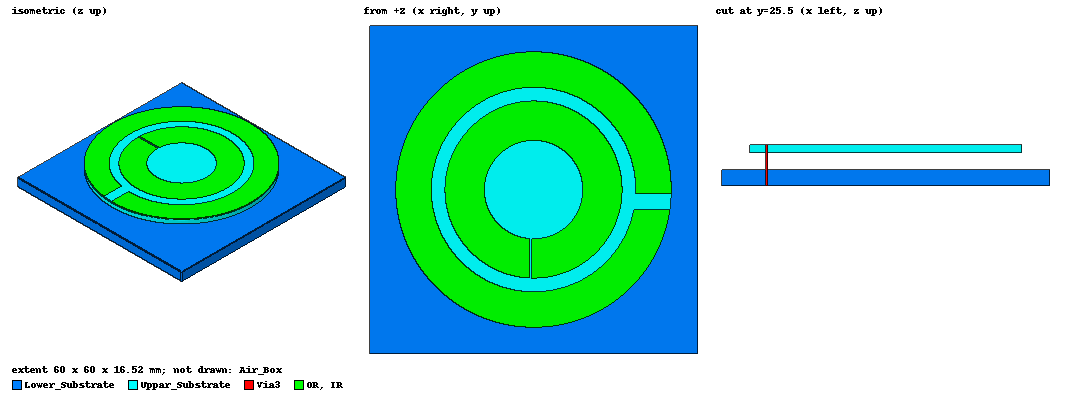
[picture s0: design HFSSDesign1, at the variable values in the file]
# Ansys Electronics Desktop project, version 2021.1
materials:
  vacuum: permittivity=1
  Taconic TLY (tm): permittivity=2.2 dielectric_loss_tangent=0.0009
  pec: conductivity=1e+30
  Teflon (tm): permittivity=2.1 dielectric_loss_tangent=0.001
  FR4_epoxy: permittivity=4.4 dielectric_loss_tangent=0.02
  Material1felt: permittivity=1.6
  Rogers RT/duroid 5880 (tm): permittivity=2.2 dielectric_loss_tangent=0.0009
  corning_glass: permittivity=5.75
  Rogers RO3003 (tm): permittivity=3 dielectric_loss_tangent=0.0013
  polyester: permittivity=3.2 dielectric_loss_tangent=0.003

design HFSSDesign1 (HFSS, DrivenModal, model units mm)
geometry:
  Ground = rectangle(corner=(0mm, 0mm, -3mm), x_size=60mm, y_size=60mm)
  Lower_Substrate [Material1felt] = box(corner=(0mm, 0mm, 0mm), size=(60mm, 60mm, -3mm))
  coordinate_system RelativeCS1 = origin=(30mm, 30mm, 0mm) x=(1mm, 0mm, 0mm) y=(0mm, 1mm, 0mm)
  Uppar_Substrate [Taconic TLY (tm)] = cylinder(axis=Z, base_centre=(0mm, 0mm, 3mm), radius=25.2mm, height=1.52mm) in RelativeCS1
  r2 = circle(normal=Z, centre=(0mm, 0mm, 4.52mm), radius=18.7mm) in RelativeCS1
  OR = circle(normal=Z, centre=(0mm, 0mm, 4.52mm), radius=25.2mm) in RelativeCS1
  r1 = circle(normal=Z, centre=(0mm, 0mm, 4.52mm), radius=9mm) in RelativeCS1
  IR = circle(normal=Z, centre=(0mm, 0mm, 4.52mm), radius=16.2mm) in RelativeCS1
  OR.subtract(r2)
  IR.subtract(r1)
  r3 = circle(normal=Z, centre=(0mm, 0mm, 3mm), radius=5.5mm) in RelativeCS1
  Feeding_Network = circle(normal=Z, centre=(0mm, 0mm, 3mm), radius=9mm) in RelativeCS1
  Rectangle2 = rectangle(corner=(9mm, -0.25mm, 3mm), x_size=13mm, y_size=0.5mm) in RelativeCS1
  Rectangle3 = rectangle(corner=(-0.25mm, -8.97mm, 3mm), x_size=0.5mm, y_size=-3.9mm) in RelativeCS1
  Rectangle4 = rectangle(corner=(-1mm, -1.75mm, 3mm), x_size=10mm, y_size=3.5mm) in RelativeCS1
  Feeding_Network.subtract(r3)
  Rectangle5 = rectangle(corner=(-0.75mm, -8.9mm, 4.52mm), x_size=0.4mm, y_size=-7.3mm) in RelativeCS1
  Rectangle6 = rectangle(corner=(18.2mm, -0.75mm, 4.52mm), x_size=7mm, y_size=-3mm) in RelativeCS1
  OR.subtract(Rectangle6)
  IR.subtract(Rectangle5)
  Inner [pec] = cylinder(axis=Z, base_centre=(0mm, 0mm, 3mm), radius=0.5mm, height=-15mm) in RelativeCS1
  Rectangle7 = rectangle(corner=(-10mm, 1.75mm, 3mm), x_size=20mm, y_size=16mm) in RelativeCS1
  Rectangle8 = rectangle(corner=(-0.25mm, -12.6mm, 3mm), x_size=-10mm, y_size=10.85mm) in RelativeCS1
  Rectangle9 = rectangle(corner=(-1mm, 1.75mm, 3mm), x_size=-11mm, y_size=-5.75mm) in RelativeCS1
  Feeding_Network.subtract(Rectangle7, Rectangle8, Rectangle9)
  Via2 [pec] = cylinder(axis=Z, base_centre=(21.7mm, 0mm, 4.52mm), radius=0.2mm, height=-1.52mm) in RelativeCS1
  Feeding_Network.unite(Rectangle3, Rectangle2, Rectangle4)
  Outer [pec] = cylinder(axis=Z, base_centre=(0mm, 0mm, -3mm), radius=1.75mm, height=-9mm) in RelativeCS1
  Via1 [pec] = cylinder(axis=Z, base_centre=(0mm, -12.6mm, 3mm), radius=0.2mm, height=1.52mm) in RelativeCS1
  Via3 [pec] = cylinder(axis=Z, base_centre=(21.7mm, -4.5mm, 4.52mm), radius=0.2mm, height=-7.52mm) in RelativeCS1
  Coax [Teflon (tm)] = cylinder(axis=Z, base_centre=(0mm, 0mm, -3mm), radius=1.5mm, height=-9mm) in RelativeCS1
  Coax_1 = Coax.copy()
  Outer.subtract(Coax_1)
  Inner_1 = Inner.copy()
  Coax.subtract(Inner_1)
  Via1_1 = Via1.copy()
  Via2_1 = Via2.copy()
  Via3_1 = Via3.copy()
  Uppar_Substrate.subtract(Via1_1, Via2_1, Via3_1)
  Inner_2 = Inner.copy()
  Via3_2 = Via3.copy()
  Lower_Substrate.subtract(Inner_2, Via3_2)
  Air_Box [vacuum] = box(corner=(-2.5mm, -2.5mm, -12mm), size=(65mm, 65mm, 50mm))
  Circle1 = circle(normal=Z, centre=(30mm, 30mm, -3mm), radius=1.75mm)
  Ground.subtract(Circle1)
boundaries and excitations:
  PerfE1: Perfect E Objects=Ground InfGroundPlane
  PerfE2: Perfect E Objects=[IR, OR, Feeding_Network]
  Rad1: Radiation Faces=Air_Box.face(-y, +x, +y, +z, -x)
  1: Wave Port Faces=Coax.face(2 of 3) NumModes=1 Modes{Mode1{IntLine{middle of Coax.edge(1 of 2) -> middle of Coax.edge(at (29.5, 30, -12))} CharImp=Zpi}}
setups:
  Setup1: HfssDriven Frequency=2.45GHz MaxDeltaS=0.02 MaximumPasses=6 MinimumPasses=1 MinimumConvergedPasses=1 PercentRefinement=30 BasisOrder=1 PortAccuracy=2
    sweep Sweep: 1.5GHz to 5.5GHz, 91 points; Type=Fast SaveFields GenerateFieldsForAllFreqs
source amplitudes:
  1:1: 1W 0deg
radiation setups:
  Infinite Sphere1: Infinite Sphere Theta=-180deg..180deg step 5deg Phi=0deg..360deg step 5deg
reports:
  S Parameter Plot 1: dB(S(1,1)) vs Freq on Setup1 : Sweep; db(s(1,1)) vs \ï»¿Freq; markers m1 at 2.3GHz, m2 at 3.2777778GHz, m3 at 4.1666667GHz, MY1 at y=-10.7339
  Radiation Pattern at 2.45 GHz: dB(GainTotal) vs Theta on Setup1 : Sweep, Infinite Sphere1 [Phi=0deg,90deg Freq=2.47778GHz]
  Radiation Pattern at 3.0 GHz: dB(GainTotal) vs Theta on Setup1 : Sweep, Infinite Sphere1 [Phi=0deg,90deg Freq=2.96667GHz]
  Radiation Pattern at 3.45 GHz: dB(GainTotal) vs Theta on Setup1 : Sweep, Infinite Sphere1 [Phi=0deg,90deg Freq=3.36667GHz]
